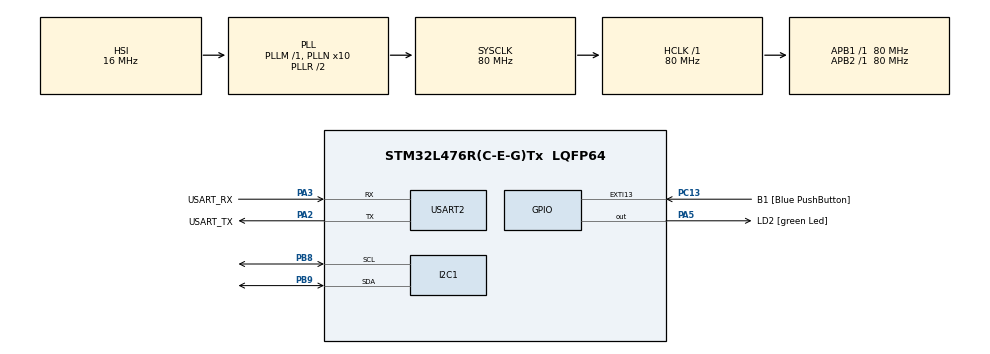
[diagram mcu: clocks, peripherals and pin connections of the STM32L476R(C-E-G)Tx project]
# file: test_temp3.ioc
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I2C1.Timing=0x10909CEC
Mcu.Family=STM32L4
Mcu.Name=STM32L476R(C-E-G)Tx
Mcu.Package=LQFP64
NVIC.PriorityGroup=NVIC_PRIORITYGROUP_4
PA13\ (JTMS-SWDIO).GPIO_Label=TMS
PA13\ (JTMS-SWDIO).Mode=Serial_Wire
PA13\ (JTMS-SWDIO).Signal=SYS_JTMS-SWDIO
PA14\ (JTCK-SWCLK).GPIO_Label=TCK
PA14\ (JTCK-SWCLK).Mode=Serial_Wire
PA14\ (JTCK-SWCLK).Signal=SYS_JTCK-SWCLK
PA2.GPIO_Label=USART_TX
PA2.GPIO_Mode=GPIO_MODE_AF_PP
PA2.GPIO_PuPd=GPIO_NOPULL
PA2.GPIO_Speed=GPIO_SPEED_FREQ_VERY_HIGH
PA2.Mode=Asynchronous
PA2.Signal=USART2_TX
PA3.GPIO_Label=USART_RX
PA3.GPIO_Mode=GPIO_MODE_AF_PP
PA3.GPIO_PuPd=GPIO_NOPULL
PA3.GPIO_Speed=GPIO_SPEED_FREQ_VERY_HIGH
PA3.Mode=Asynchronous
PA3.Signal=USART2_RX
PA5.GPIO_Label=LD2 [green Led]
PA5.GPIO_ModeDefaultOutputPP=GPIO_MODE_OUTPUT_PP
PA5.GPIO_PuPd=GPIO_NOPULL
PA5.GPIO_Speed=GPIO_SPEED_FREQ_LOW
PA5.Signal=GPIO_Output
PB3\ (JTDO-TRACESWO).GPIO_Label=SWO
PB3\ (JTDO-TRACESWO).Signal=SYS_JTDO-SWO
PB8.Mode=I2C
PB8.Signal=I2C1_SCL
PB9.Mode=I2C
PB9.Signal=I2C1_SDA
PC13.GPIO_Label=B1 [Blue PushButton]
PC13.GPIO_ModeDefaultEXTI=GPIO_MODE_IT_FALLING
PC13.GPIO_PuPd=GPIO_NOPULL
PC13.Signal=GPXTI13
PC14-OSC32_IN\ (PC14).Mode=LSE-External-Oscillator
PC14-OSC32_IN\ (PC14).Signal=RCC_OSC32_IN
PC15-OSC32_OUT\ (PC15).Mode=LSE-External-Oscillator
PC15-OSC32_OUT\ (PC15).Signal=RCC_OSC32_OUT
PH0-OSC_IN\ (PH0).Signal=RCC_OSC_IN
PH1-OSC_OUT\ (PH1).Signal=RCC_OSC_OUT
ProjectManager.HeapSize=0x200
ProjectManager.StackSize=0x400
ProjectManager.TargetToolchain=STM32CubeIDE
RCC.ADCFreq_Value=64000000
RCC.AHBFreq_Value=80000000
RCC.APB1Freq_Value=80000000
RCC.APB1TimFreq_Value=80000000
RCC.APB2Freq_Value=80000000
RCC.APB2TimFreq_Value=80000000
RCC.CortexFreq_Value=80000000
RCC.HCLKFreq_Value=80000000
RCC.HSE_VALUE=8000000
RCC.HSI_VALUE=16000000
RCC.MSI_VALUE=4000000
RCC.PLLN=10
RCC.PLLSourceVirtual=RCC_PLLSOURCE_HSI
RCC.PREFETCH_ENABLE=1
RCC.SYSCLKFreq_VALUE=80000000
RCC.SYSCLKSource=RCC_SYSCLKSOURCE_PLLCLK
RCC.USBFreq_Value=64000000
RCC.VCOOutputFreq_Value=160000000
USART2.VirtualMode-Asynchronous=VM_ASYNC
board=NUCLEO-L476RG

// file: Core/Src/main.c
/* USER CODE BEGIN Header */
/**
  ******************************************************************************
  * @file           : main.c
  * @brief          : Main program body
  ******************************************************************************
  * @attention
  *
  * Copyright (c) 2022 STMicroelectronics.
  * All rights reserved.
  *
  * This software is licensed under terms that can be found in the LICENSE file
  * in the root directory of this software component.
  * If no LICENSE file comes with this software, it is provided AS-IS.
  *
  ******************************************************************************
  */
/* USER CODE END Header */
#include "main.h"
#include "i2c.h"
#include "usart.h"
#include "gpio.h"
#include "lib_lcd.h"
#include "stm32l4xx_hal.h"
#include "sht3x.h"
#include <stdio.h>
#include <stdlib.h>
#include <string.h>

void SystemClock_Config(void);

int main(void)
{
  /* USER CODE BEGIN 1 */
	rgb_lcd* datalcd ;
	char buf[256];

	// Create the handle for the sensor.
	sht3x_handle_t handle = {
	    .i2c_handle = &hi2c1,
	    .device_address = SHT3X_I2C_DEVICE_ADDRESS_ADDR_PIN_LOW
	};

  /* USER CODE END 1 */

  /* MCU Configuration--------------------------------------------------------*/

  /* Reset of all peripherals, Initializes the Flash interface and the Systick. */
  HAL_Init();

  /* Configure the system clock */
  SystemClock_Config();

  /* Initialize all configured peripherals */
  MX_GPIO_Init();
  MX_USART2_UART_Init();
  MX_I2C1_Init();
  /* USER CODE BEGIN 2 */
lcd_init(&hi2c1, &datalcd) ;

// Initialise sensor (tests connection by reading the status register).
if (!sht3x_init(&handle)) {
	  lcd_position(&hi2c1, 0, 0) ;
	  lcd_print(&hi2c1, "Access failed") ;
	  HAL_Delay(2000) ;
	}
  /* USER CODE END 2 */

  /* Infinite loop */
  /* USER CODE BEGIN WHILE */
lcd_position(&hi2c1, 0, 0) ;
lcd_print(&hi2c1, "Access granted") ;
HAL_Delay(2000) ;
clearlcd() ;

  while (1)
  {
    /* USER CODE END WHILE */
	  // position du curseur le lcd

	  // Read temperature and humidity.
	  float temperature, humidity;
	  int b, c ;
	  sht3x_read_temperature_and_humidity(&handle, &temperature, &humidity);
	  //b = (int)temperature ;
	  //char a[2] = (char)b ;
	  //a[0] = (char)temperature ;
	  //a[1] = "°" ;

	  //int myInt = 47;
	  b = (int)temperature ;
	  char myStg1[10];
	  sprintf(myStg1, "%d", b);

	  c = (int)humidity ;
	  char myStg2[10];
	  sprintf(myStg2, "%d", c);
	  //lcd.print(myStg);

	  lcd_position(&hi2c1, 0, 0) ;
	  lcd_print(&hi2c1, myStg1) ;
	  lcd_position(&hi2c1, 2, 0) ;
	  lcd_print(&hi2c1, "DegC") ;

	  lcd_position(&hi2c1, 0, 1) ;
	  lcd_print(&hi2c1, myStg2) ;
	  lcd_position(&hi2c1, 2, 1) ;
	  lcd_print(&hi2c1, "%") ;

	  HAL_Delay(1000) ;
	  clearlcd() ;

  }
}

void SystemClock_Config(void)
{
  RCC_OscInitTypeDef RCC_OscInitStruct = {0};
  RCC_ClkInitTypeDef RCC_ClkInitStruct = {0};

  /** Configure the main internal regulator output voltage
  */
  if (HAL_PWREx_ControlVoltageScaling(PWR_REGULATOR_VOLTAGE_SCALE1) != HAL_OK)
  {
    Error_Handler();
  }
  /** Initializes the RCC Oscillators according to the specified parameters
  * in the RCC_OscInitTypeDef structure.
  */
  RCC_OscInitStruct.OscillatorType = RCC_OSCILLATORTYPE_HSI;
  RCC_OscInitStruct.HSIState = RCC_HSI_ON;
  RCC_OscInitStruct.HSICalibrationValue = RCC_HSICALIBRATION_DEFAULT;
  RCC_OscInitStruct.PLL.PLLState = RCC_PLL_ON;
  RCC_OscInitStruct.PLL.PLLSource = RCC_PLLSOURCE_HSI;
  RCC_OscInitStruct.PLL.PLLM = 1;
  RCC_OscInitStruct.PLL.PLLN = 10;
  RCC_OscInitStruct.PLL.PLLP = RCC_PLLP_DIV7;
  RCC_OscInitStruct.PLL.PLLQ = RCC_PLLQ_DIV2;
  RCC_OscInitStruct.PLL.PLLR = RCC_PLLR_DIV2;
  if (HAL_RCC_OscConfig(&RCC_OscInitStruct) != HAL_OK)
  {
    Error_Handler();
  }
  /** Initializes the CPU, AHB and APB buses clocks
  */
  RCC_ClkInitStruct.ClockType = RCC_CLOCKTYPE_HCLK|RCC_CLOCKTYPE_SYSCLK
                              |RCC_CLOCKTYPE_PCLK1|RCC_CLOCKTYPE_PCLK2;
  RCC_ClkInitStruct.SYSCLKSource = RCC_SYSCLKSOURCE_PLLCLK;
  RCC_ClkInitStruct.AHBCLKDivider = RCC_SYSCLK_DIV1;
  RCC_ClkInitStruct.APB1CLKDivider = RCC_HCLK_DIV1;
  RCC_ClkInitStruct.APB2CLKDivider = RCC_HCLK_DIV1;

  if (HAL_RCC_ClockConfig(&RCC_ClkInitStruct, FLASH_LATENCY_4) != HAL_OK)
  {
    Error_Handler();
  }
}

void Error_Handler(void)
{
  __disable_irq();
  while (1)
  {
  }
}
